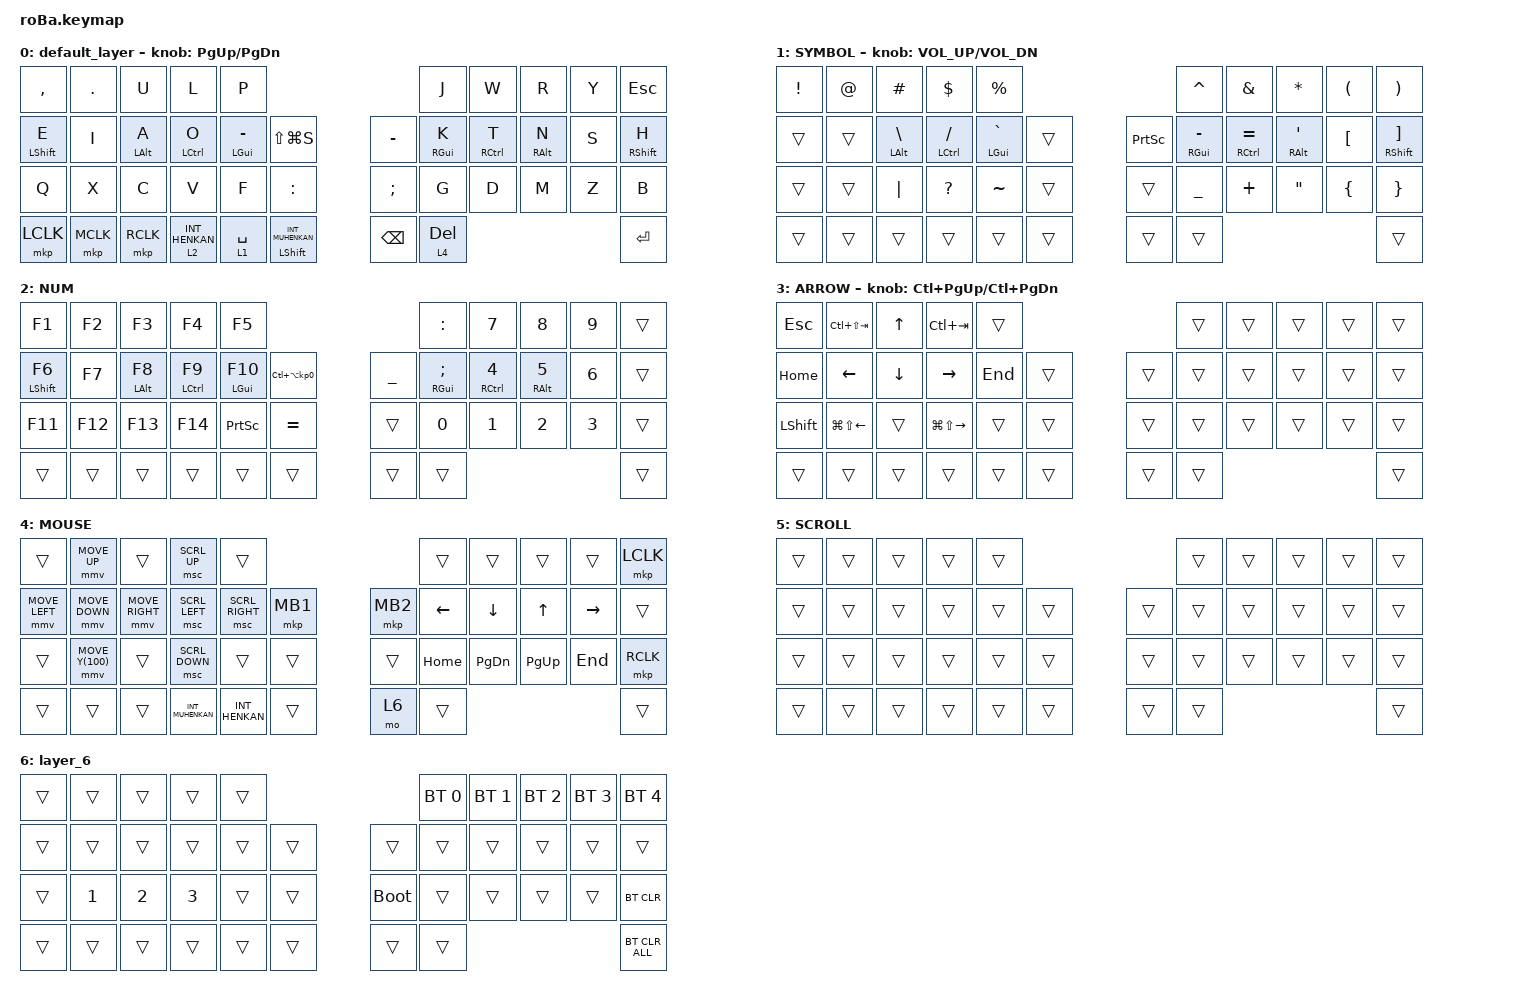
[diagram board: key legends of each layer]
#include <behaviors.dtsi>
#include <dt-bindings/zmk/bt.h>
#include <dt-bindings/zmk/keys.h>
#include <dt-bindings/zmk/pointing.h>

&mt {
    flavor = "balanced";
    quick-tap-ms = <0>;
};

&trackball {
    // automouse-layer = <4>;
    // scroll-layers = <5>;
    // arrows {
    //     layers = <3>;
    //     bindings =
    //         <&kp RIGHT_ARROW>,
    //         <&kp LEFT_ARROW>,
    //         <&kp UP_ARROW>,
    //         <&kp DOWN_ARROW>;
    //     tick = <10>;
    //     wait-ms = <5>;
    //     tap-ms = <5>;
    // };
};

/ {
    combos {
        compatible = "zmk,combos";

        tab {
            bindings = <&kp TAB>;
            key-positions = <11 12>;
        };

        shift_tab {
            bindings = <&kp LS(TAB)>;
            key-positions = <12 13>;
        };

        muhennkann {
            bindings = <&to_layer_0 INT_MUHENKAN>;
            key-positions = <11 10>;
        };

        double_quotation {
            bindings = <&kp DOUBLE_QUOTES>;
            key-positions = <20 21>;
        };

        eq {
            bindings = <&kp EQUAL>;
            key-positions = <24 25>;
        };
    };

    macros {
        to_layer_0: to_layer_0 {
            compatible = "zmk,behavior-macro-one-param";
            #binding-cells = <1>;
            bindings = <&to 0 &macro_param_1to1 &kp MACRO_PLACEHOLDER>;
            label = "TO_LAYER_0";
        };
    };

    behaviors {
        lt_to_layer_0: lt_to_layer_0 {
            compatible = "zmk,behavior-hold-tap";
            label = "LAYER_TAP_TO_0";
            bindings = <&mo>, <&to_layer_0>;

            #binding-cells = <2>;
            tapping-term-ms = <200>;
        };
    };

    keymap {
        compatible = "zmk,keymap";

        default_layer {
            bindings = <
&kp COMMA    &kp PERIOD  &kp U       &kp L                        &kp P                                                              &kp J                 &kp W        &kp R       &kp Y  &kp ESCAPE
&mt LSHFT E  &kp I       &mt LALT A  &mt LCTRL O                  &mt LGUI MINUS          &kp LS(LG(S))               &kp MINUS      &mt RGUI K            &mt RCTRL T  &mt RALT N  &kp S  &mt RSHIFT H
&kp Q        &kp X       &kp C       &kp V                        &kp F                   &kp COLON                   &kp SEMICOLON  &kp G                 &kp D        &kp M       &kp Z  &kp B
&mkp LCLK    &mkp MCLK   &mkp RCLK   &lt_to_layer_0 2 INT_HENKAN  &lt_to_layer_0 1 SPACE  &mt LSHFT INT_MUHENKAN      &kp BACKSPACE  &lt_to_layer_0 4 DEL                                  &kp ENTER
            >;

            sensor-bindings = <&inc_dec_kp PG_UP PAGE_DOWN>;
        };

        SYMBOL {
            bindings = <
&kp EXCLAMATION  &kp AT_SIGN  &kp HASH            &kp DOLLAR       &kp PERCENT                                  &kp CARET       &kp AMPERSAND    &kp ASTERISK       &kp LEFT_PARENTHESIS  &kp RIGHT_PARENTHESIS
&trans           &trans       &mt LALT BACKSLASH  &mt LCTRL SLASH  &mt LGUI GRAVE  &trans      &kp PRINTSCREEN  &mt RGUI MINUS  &mt RCTRL EQUAL  &mt RALT SQT       &kp LEFT_BRACKET      &mt RSHFT RIGHT_BRACKET
&trans           &trans       &kp PIPE            &kp QUESTION     &kp TILDE       &trans      &trans           &kp UNDERSCORE  &kp PLUS         &kp DOUBLE_QUOTES  &kp LEFT_BRACE        &kp RIGHT_BRACE
&trans           &trans       &trans              &trans           &trans          &trans      &trans           &trans                                                                    &trans
            >;

            sensor-bindings = <&inc_dec_kp C_VOL_UP C_VOL_DN>;
        };

        NUM {
            bindings = <
&kp F1        &kp F2   &kp F3       &kp F4        &kp F5                                                        &kp COLON           &kp NUMBER_7        &kp NUMBER_8  &kp NUMBER_9  &trans
&mt LSHFT F6  &kp F7   &mt LALT F8  &mt LCTRL F9  &mt LGUI F10     &kp LC(LA(KP_NUMBER_0))      &kp UNDERSCORE  &mt RGUI SEMICOLON  &mt RCTRL NUMBER_4  &mt RALT N5   &kp NUMBER_6  &trans
&kp F11       &kp F12  &kp F13      &kp F14       &kp PRINTSCREEN  &kp EQUAL                    &trans          &kp N0              &kp NUMBER_1        &kp N2        &kp NUMBER_3  &trans
&trans        &trans   &trans       &trans        &trans           &trans                       &trans          &trans                                                              &trans
            >;
        };

        ARROW {
            bindings = <
&kp ESCAPE      &kp LC(LS(TAB))         &kp UP_ARROW    &kp LC(TAB)              &trans                       &trans  &trans  &trans  &trans  &trans
&kp HOME        &kp LEFT_ARROW          &kp DOWN_ARROW  &kp RIGHT_ARROW          &kp END  &trans      &trans  &trans  &trans  &trans  &trans  &trans
&kp LEFT_SHIFT  &kp LG(LS(LEFT_ARROW))  &trans          &kp LG(LS(RIGHT_ARROW))  &trans   &trans      &trans  &trans  &trans  &trans  &trans  &trans
&trans          &trans                  &trans          &trans                   &trans   &trans      &trans  &trans                          &trans
            >;

            sensor-bindings = <&inc_dec_kp LC(PAGE_UP) LC(PAGE_DOWN)>;
        };

        MOUSE {
            bindings = <
&trans          &mmv MOVE_UP      &trans           &msc SCRL_UP      &trans                                   &trans          &trans         &trans        &trans     &mkp LCLK
&mmv MOVE_LEFT  &mmv MOVE_DOWN    &mmv MOVE_RIGHT  &msc SCRL_LEFT    &msc SCRL_RIGHT  &mkp MB1      &mkp MB2  &kp LEFT_ARROW  &kp DOWN       &kp UP_ARROW  &kp RIGHT  &trans
&trans          &mmv MOVE_Y(100)  &trans           &msc SCRL_DOWN    &trans           &trans        &trans    &kp HOME        &kp PAGE_DOWN  &kp PAGE_UP   &kp END    &mkp RCLK
&trans          &trans            &trans           &kp INT_MUHENKAN  &kp INT_HENKAN   &trans        &mo 6     &trans                                                  &trans
            >;
        };

        SCROLL {
            bindings = <
&trans  &trans  &trans  &trans  &trans                      &trans  &trans  &trans  &trans  &trans
&trans  &trans  &trans  &trans  &trans  &trans      &trans  &trans  &trans  &trans  &trans  &trans
&trans  &trans  &trans  &trans  &trans  &trans      &trans  &trans  &trans  &trans  &trans  &trans
&trans  &trans  &trans  &trans  &trans  &trans      &trans  &trans                          &trans
            >;
        };

        layer_6 {
            bindings = <
&trans  &trans        &trans        &trans        &trans                           &bt BT_SEL 0  &bt BT_SEL 1  &bt BT_SEL 2  &bt BT_SEL 3  &bt BT_SEL 4
&trans  &trans        &trans        &trans        &trans  &trans      &trans       &trans        &trans        &trans        &trans        &trans
&trans  &kp NUMBER_1  &kp NUMBER_2  &kp NUMBER_3  &trans  &trans      &bootloader  &trans        &trans        &trans        &trans        &bt BT_CLR
&trans  &trans        &trans        &trans        &trans  &trans      &trans       &trans                                                  &bt BT_CLR_ALL
            >;
        };
    };
};
